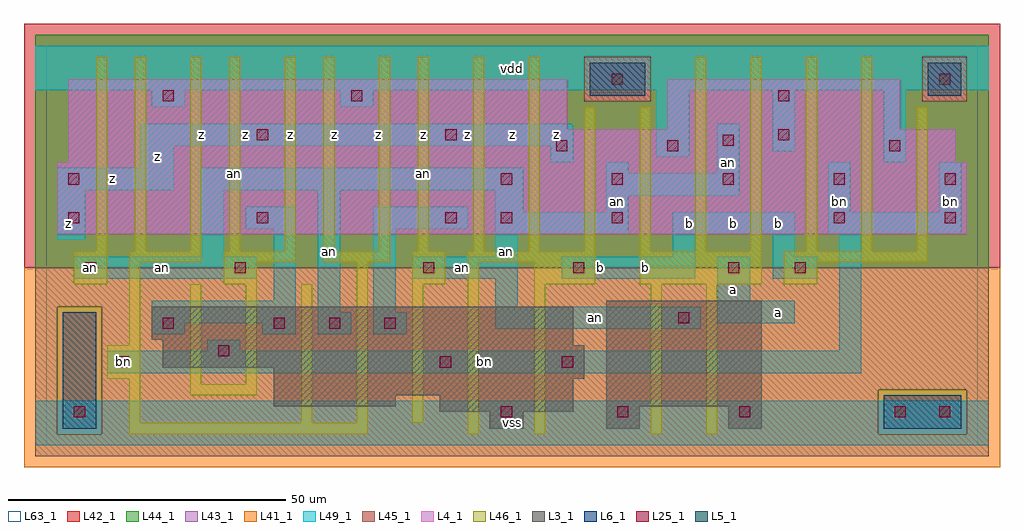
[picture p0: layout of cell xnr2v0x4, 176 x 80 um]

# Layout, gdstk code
import gdstk
lib = gdstk.Library(unit=1e-6, precision=1e-09)
def R(c, l, rs):  # rectangles x0, y0, x1, y1
    for r in rs: c.add(gdstk.rectangle(r[:2], r[2:], *l))
def A(c, l, x, y, w, h, nx, ny, dx, dy):  # array of equal rectangles
    R(c, l, [(x+i*dx, y+j*dy, x+i*dx+w, y+j*dy+h) for i in range(nx) for j in range(ny)])
L3_1 = (3, 1)
L4_1 = (4, 1)
L5_1 = (5, 1)
L6_1 = (6, 1)
L25_1 = (25, 1)
L41_1 = (41, 1)
L42_1 = (42, 1)
L43_1 = (43, 1)
L44_1 = (44, 1)
L45_1 = (45, 1)
L46_1 = (46, 1)
L49_1 = (49, 1)
L63_1 = (63, 1)

xnr2v0x4 = lib.new_cell('xnr2v0x4')
R(xnr2v0x4, L3_1, [(80,3,86,6), (101,3,107,7), (123,3,129,7), (71,6,95,9), (41,7,63,9), (101,7,129,26), (41,9,95,12), (41,12,97,14), (21,14,97,18), (21,18,95,19), (19,19,95,25)])
R(xnr2v0x4, L4_1, [(2,38,166,51), (4,51,164,57), (4,57,94,66), (112,57,154,66)])
R(xnr2v0x4, L5_1, [(98,63,108,69), (159,63,165,69)])
R(xnr2v0x4, L6_1, [(3,3,9,24), (3,3,9,24), (151,3,165,9), (151,3,165,9)])
A(xnr2v0x4, L25_1, 41, 21, 2, 2, 3, 1, 10, 0)
A(xnr2v0x4, L25_1, 4, 40, 2, 2, 3, 1, 34, 0)
A(xnr2v0x4, L25_1, 82, 47, 2, 2, 5, 1, 20, 0)
R(xnr2v0x4, L25_1, [(5,5,7,7), (82,5,84,7), (103,5,105,7), (125,5,127,7), (153,5,155,7), (161,5,163,7), (13,14,15,16), (71,14,73,16), (93,14,95,16), (31,16,33,18), (21,21,23,23), (114,22,116,24), (7,31,9,33), (34,31,36,33), (68,31,70,33), (95,31,97,33), (123,31,125,33), (135,31,137,33), (82,40,84,42), (102,40,104,42), (142,40,144,42), (162,40,164,42), (4,47,6,49), (92,53,94,55), (112,53,114,55), (152,53,154,55), (122,54,124,56), (38,55,40,57), (72,55,74,57), (132,55,134,57), (21,62,23,64), (55,62,57,64), (132,62,134,64), (102,65,104,67), (161,65,163,67)])
R(xnr2v0x4, L41_1, [(-4,-4,172,32)])
R(xnr2v0x4, L42_1, [(-4,32,172,76)])
R(xnr2v0x4, L43_1, [(3,3,9,24), (80,3,86,6), (101,3,107,7), (123,3,129,7), (151,3,165,9), (71,6,95,9), (41,7,63,9), (101,7,129,26), (41,9,95,12), (41,12,97,14), (21,14,97,18), (21,18,95,19), (19,19,95,25), (2,38,166,51), (4,51,164,57), (4,57,94,66), (112,57,154,66), (98,63,108,69), (159,63,165,69)])
R(xnr2v0x4, L44_1, [(2,2,10,25), (150,2,166,10), (-2,32,170,62), (-2,62,97,70), (109,62,158,70), (166,62,170,70), (-2,70,170,74)])
R(xnr2v0x4, L45_1, [(-2,-2,170,2), (-2,2,2,25), (10,2,150,10), (166,2,170,10), (10,10,170,25), (-2,25,170,32), (97,62,109,70), (158,62,166,70)])
A(xnr2v0x4, L46_1, 67, 35, 2, 35, 3, 1, 10, 0)
A(xnr2v0x4, L46_1, 117, 35, 2, 35, 4, 1, 10, 0)
R(xnr2v0x4, L46_1, [(15,2,58,4), (76,2,78,33), (88,2,90,29), (109,2,111,29), (119,2,121,29), (15,4,17,12), (46,4,48,29), (56,4,58,33), (66,4,68,29), (26,9,38,11), (26,11,28,29), (36,11,38,29), (11,12,17,18), (15,18,17,33), (5,29,11,35), (32,29,38,33), (66,29,72,35), (88,29,99,33), (107,29,129,35), (133,29,139,33), (15,33,28,35), (32,33,45,35), (50,33,62,35), (76,33,99,35), (133,33,159,35), (9,35,11,70), (16,35,18,70), (26,35,28,70), (33,35,35,70), (43,35,45,70), (50,35,52,70), (60,35,62,70), (97,35,99,61), (107,35,109,61), (157,35,159,61)])
R(xnr2v0x4, L49_1, [(-2,0,170,8), (11,13,147,17), (29,17,35,19), (143,17,147,38), (19,20,25,22), (39,20,45,22), (49,20,55,24), (59,20,65,24), (81,21,118,25), (19,22,45,26), (121,22,135,26), (49,24,53,46), (59,24,63,39), (81,25,85,30), (41,26,45,39), (121,26,127,34), (5,30,38,34), (66,30,85,34), (93,30,117,34), (131,30,139,34), (28,34,32,46), (81,34,85,38), (113,34,117,38), (131,34,135,38), (2,37,7,46), (81,38,105,42), (113,38,135,42), (141,38,165,42), (36,39,45,43), (59,39,76,43), (81,42,86,46), (101,42,105,45), (141,42,145,51), (161,42,165,51), (101,45,125,49), (2,46,23,50), (28,46,86,50), (101,49,105,51), (121,49,125,58), (17,50,23,54), (91,51,95,54), (151,51,155,64), (110,52,116,64), (131,53,135,64), (17,54,95,58), (19,61,25,64), (53,61,59,64), (-2,64,170,72)])
R(xnr2v0x4, L63_1, [(0,0,168,72)])
xnr2v0x4.add(gdstk.Label('bn', (14,15), layer=49, texttype=1))
xnr2v0x4.add(gdstk.Label('an', (8,32), layer=49, texttype=1))
xnr2v0x4.add(gdstk.Label('an', (34,49), layer=46, texttype=1))
xnr2v0x4.add(gdstk.Label('an', (68,49), layer=46, texttype=1))
xnr2v0x4.add(gdstk.Label('z', (4,40), layer=49, texttype=1))
xnr2v0x4.add(gdstk.Label('z', (20,52), layer=49, texttype=1))
xnr2v0x4.add(gdstk.Label('z', (12,48), layer=49, texttype=1))
xnr2v0x4.add(gdstk.Label('z', (28,56), layer=49, texttype=1))
xnr2v0x4.add(gdstk.Label('an', (21,32), layer=49, texttype=1))
xnr2v0x4.add(gdstk.Label('an', (51,35), layer=49, texttype=1))
xnr2v0x4.add(gdstk.Label('z', (60,56), layer=49, texttype=1))
xnr2v0x4.add(gdstk.Label('z', (52,56), layer=49, texttype=1))
xnr2v0x4.add(gdstk.Label('z', (44,56), layer=49, texttype=1))
xnr2v0x4.add(gdstk.Label('z', (36,56), layer=49, texttype=1))
xnr2v0x4.add(gdstk.Label('vss', (84,4), layer=49, texttype=1))
xnr2v0x4.add(gdstk.Label('an', (75,32), layer=49, texttype=1))
xnr2v0x4.add(gdstk.Label('an', (83,35), layer=49, texttype=1))
xnr2v0x4.add(gdstk.Label('z', (92,56), layer=49, texttype=1))
xnr2v0x4.add(gdstk.Label('z', (84,56), layer=49, texttype=1))
xnr2v0x4.add(gdstk.Label('z', (76,56), layer=49, texttype=1))
xnr2v0x4.add(gdstk.Label('z', (68,56), layer=49, texttype=1))
xnr2v0x4.add(gdstk.Label('vdd', (84,68), layer=49, texttype=1))
xnr2v0x4.add(gdstk.Label('an', (99,23), layer=49, texttype=1))
xnr2v0x4.add(gdstk.Label('a', (132,24), layer=49, texttype=1))
xnr2v0x4.add(gdstk.Label('a', (124,28), layer=49, texttype=1))
xnr2v0x4.add(gdstk.Label('b', (108,32), layer=49, texttype=1))
xnr2v0x4.add(gdstk.Label('b', (100,32), layer=49, texttype=1))
xnr2v0x4.add(gdstk.Label('b', (132,40), layer=49, texttype=1))
xnr2v0x4.add(gdstk.Label('b', (124,40), layer=49, texttype=1))
xnr2v0x4.add(gdstk.Label('b', (116,40), layer=49, texttype=1))
xnr2v0x4.add(gdstk.Label('an', (103,44), layer=49, texttype=1))
xnr2v0x4.add(gdstk.Label('an', (123,51), layer=49, texttype=1))
xnr2v0x4.add(gdstk.Label('bn', (79,15), layer=49, texttype=1))
xnr2v0x4.add(gdstk.Label('bn', (163,44), layer=49, texttype=1))
xnr2v0x4.add(gdstk.Label('bn', (143,44), layer=49, texttype=1))

lib.write_gds('xnr2v0x4.gds')
